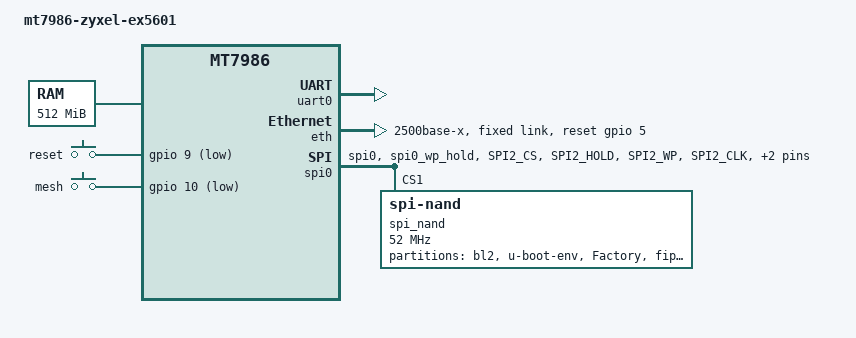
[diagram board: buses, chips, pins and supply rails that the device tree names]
// SPDX-License-Identifier: GPL-2.0

/dts-v1/;
#include "mt7986.dtsi"
#include <dt-bindings/gpio/gpio.h>

/ {
	#address-cells = <1>;
	#size-cells = <1>;
	model = "mt7986-zyxel-ex5601";
	compatible = "mediatek,mt7986", "mediatek,mt7986-rfb", "mt7986-zyxel-ex5601";

	chosen {
		stdout-path = &uart0;
		tick-timer = &timer0;
	};

	config {
		bootcmd = "mtkboardboot";
	};

	memory@40000000 {
		device_type = "memory";
		reg = <0x40000000 0x20000000>;
	};

	mtd-layout {
		layout@0 {
			label = "Default";
			cmdline = "console=ttyS0,115200n1 loglevel=8 firmware=0 uart_en=1";
			mtdids = "nmbm0=nmbm0";
			mtdparts = "nmbm0:1024k(bl2),512k(u-boot-env),2048k(factory),1792k(fip),256k(zloader),65536k(ubi),65536k(ubi2),354816k(zyubi)";
			boot_part = "ubi"; // ubi boot part, default is "ubi"
			factory_part = "ubi"; // factory firmware write part, default is "ubi"
			sysupgrade_kernel_ubipart = "ubi"; // sysupgrade kernel write part (ubi volume: kernel), default is "ubi"
			sysupgrade_rootfs_ubipart = "ubi"; // sysupgrade rootfs write part (ubi volume: rootfs, rootfs_data)
		};
		layout@1 {
			label = "Default Ubi2";
			cmdline = "console=ttyS0,115200n1 loglevel=8 firmware=0 uart_en=1";
			mtdids = "nmbm0=nmbm0";
			mtdparts = "nmbm0:1024k(bl2),512k(u-boot-env),2048k(factory),1792k(fip),256k(zloader),65536k(ubi),65536k(ubi2),354816k(zyubi)";
			boot_part = "ubi2"; // ubi boot part, default is "ubi"
			factory_part = "ubi2"; // factory firmware write part, default is "ubi"
			sysupgrade_kernel_ubipart = "ubi2"; // sysupgrade kernel write part (ubi volume: kernel), default is "ubi"
			sysupgrade_rootfs_ubipart = "ubi2"; // sysupgrade rootfs write part (ubi volume: rootfs, rootfs_data)
		};

		layout@2 {
			label = "UbootMod";
			//mtdids = "nmbm0=nmbm0";
			//mtdparts = "spi_nand:1024k(bl2),512k(u-boot-env),2048k(factory),1792k(fip),256k(zloader),485888k(ubi)";
		};
	};

	gpio-keys {
		compatible = "gpio-keys";

		reset-button {
			label = "reset";
			linux,code = <KEY_RESTART>;
			gpios = <&gpio 9 GPIO_ACTIVE_LOW>;
		};

		mesh-button {
			label = "mesh";
			linux,code = <BTN_9>;
			gpios = <&gpio 10 GPIO_ACTIVE_LOW>;
		};
	};

	bl2_verify {
		bl2_compatible = "spim-nand";
	};
};

&uart0 {
	status = "okay";
};

&eth {
	status = "okay";
	mediatek,gmac-id = <0>;
	phy-mode = "2500base-x";
	mediatek,switch = "mt7531";
	reset-gpios = <&gpio 5 GPIO_ACTIVE_HIGH>;

	fixed-link {
		speed = <2500>;
		full-duplex;
	};
};

&pinctrl {
	spi_flash_pins: spi0-pins-func-1 {
		mux {
			function = "flash";
			groups = "spi0", "spi0_wp_hold";
		};

		conf-pu {
			pins = "SPI2_CS", "SPI2_HOLD", "SPI2_WP";
			drive-strength = <MTK_DRIVE_8mA>;
			bias-pull-up = <MTK_PUPD_SET_R1R0_11>;
		};

		conf-pd {
			pins = "SPI2_CLK", "SPI2_MOSI", "SPI2_MISO";
			drive-strength = <MTK_DRIVE_8mA>;
			bias-pull-down = <MTK_PUPD_SET_R1R0_11>;
		};
	};
};

&spi0 {
	#address-cells = <1>;
	#size-cells = <0>;
	pinctrl-names = "default";
	pinctrl-0 = <&spi_flash_pins>;
	status = "okay";
	must_tx;
	enhance_timing;
	dma_ext;
	ipm_design;
	support_quad;
	tick_dly = <2>;
	sample_sel = <0>;

	spi_nand@0 {
		compatible = "spi-nand";
		reg = <1>;
		spi-max-frequency = <52000000>;
		partitions {
			compatible = "fixed-partitions";
			#address-cells = <1>;
			#size-cells = <1>;

			partition@0 {
				label = "bl2";
				reg = <0x0 0x100000>;
			};

			partition@100000 {
				label = "u-boot-env";
				reg = <0x0100000 0x0080000>;
			};

			partition@180000 {
				label = "Factory";
				reg = <0x180000 0x0200000>;
			};

			partition@380000 {
				label = "fip";
				reg = <0x380000 0x0200000>;
			};

			partition@540000 {
				label = "zloader";
				reg = <0x540000 0x0040000>;
				read-only;
			};
			partition@580000 {
				label = "ubi";
				reg = <0x580000 0x1da80000>;
			};
		};
	};
};

&watchdog {
	status = "disabled";
};
